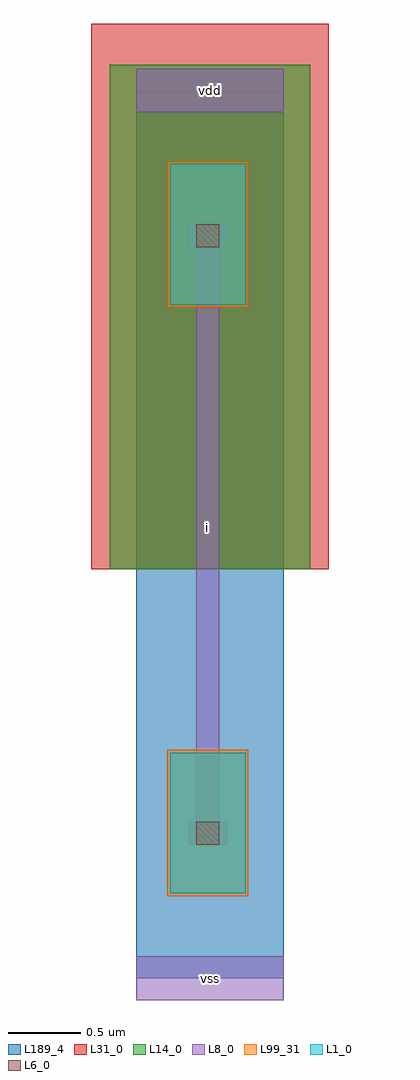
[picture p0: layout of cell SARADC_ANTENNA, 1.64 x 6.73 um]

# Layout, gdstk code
import gdstk
lib = gdstk.Library(unit=1e-6, precision=1e-09)
def R(c, l, rs):  # rectangles x0, y0, x1, y1
    for r in rs: c.add(gdstk.rectangle(r[:2], r[2:], *l))
L1_0 = (1, 0)
L6_0 = (6, 0)
L8_0 = (8, 0)
L14_0 = (14, 0)
L31_0 = (31, 0)
L99_31 = (99, 31)
L189_4 = (189, 4)

saradc_antenna = lib.new_cell('SARADC_ANTENNA')
R(saradc_antenna, L1_0, [(0.235,0.585,0.755,1.555), (0.235,4.645,0.755,5.615)])
R(saradc_antenna, L6_0, [(0.415,0.92,0.575,1.08), (0.415,5.04,0.575,5.2)])
R(saradc_antenna, L8_0, [(0,-0.15,1.02,0.15), (0.365,0.92,0.625,1.08), (0.415,1.08,0.575,5.04), (0.365,5.04,0.625,5.2), (0,5.97,1.02,6.27)])
R(saradc_antenna, L14_0, [(-0.18,2.82,1.2,5.94), (-0.18,5.94,1.2,6.3)])
R(saradc_antenna, L31_0, [(-0.31,2.82,1.33,6.58)])
R(saradc_antenna, L99_31, [(0.215,0.565,0.775,1.575), (0.215,4.625,0.775,5.635)])
R(saradc_antenna, L189_4, [(0,0,1.02,6.12)])
saradc_antenna.add(gdstk.Label('vss', (0.51,0), layer=8, texttype=2))
saradc_antenna.add(gdstk.Label('vdd', (0.51,6.12), layer=8, texttype=2))
saradc_antenna.add(gdstk.Label('i', (0.495,3.11), layer=8, texttype=2))

lib.write_gds('SARADC_ANTENNA.gds')
